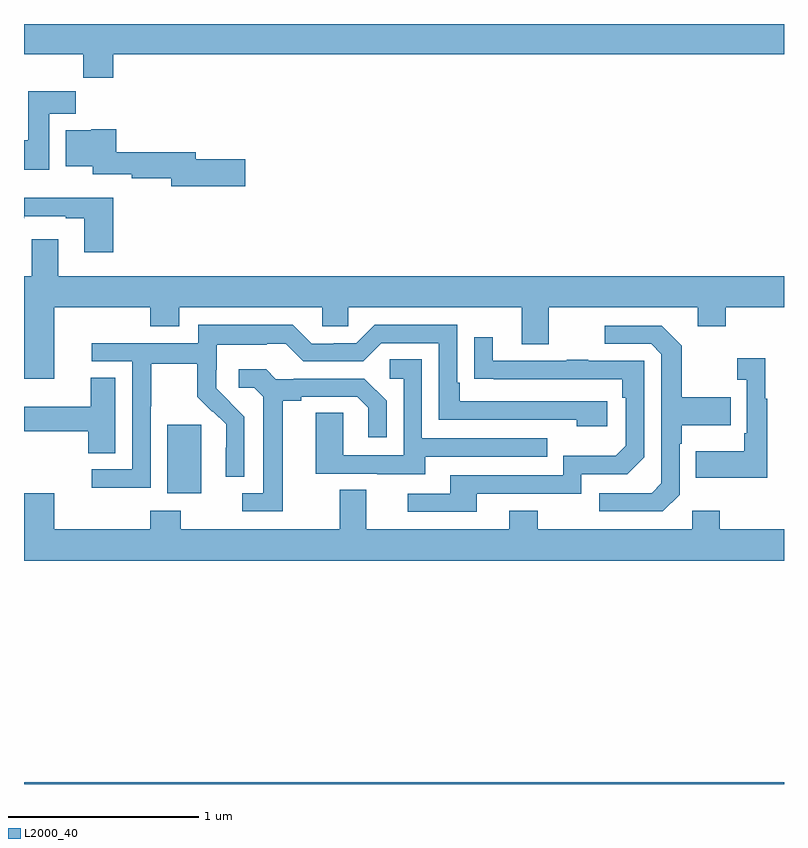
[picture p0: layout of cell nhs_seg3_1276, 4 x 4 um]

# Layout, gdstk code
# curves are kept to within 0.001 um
import gdstk
lib = gdstk.Library(unit=1e-6, precision=1e-09)
def R(c, l, rs):  # rectangles x0, y0, x1, y1
    for r in rs: c.add(gdstk.rectangle(r[:2], r[2:], *l))
def P(c, l, *ps):  # polygons
    for p in ps: c.add(gdstk.Polygon(p, *l))
L2000_40 = (2000, 40)

nhs_seg3_1276 = lib.new_cell('nhs_seg3_1276')
R(nhs_seg3_1276, L2000_40, [(177,706.4,181,706.408), (177.755,707.93,177.934,708.291)])
P(nhs_seg3_1276, L2000_40, [(177.47,710.24),(181,710.24),(181,710.4),(177,710.4),(177,710.24),(177.313,710.24),(177.313,710.116),(177.47,710.116)],
  [(177.133,709.928),(177.272,709.928),(177.272,710.046),(177.023,710.046),(177.023,709.788),(177,709.788),(177,709.632),(177.133,709.632)],
  [(178.165,709.688),(177.904,709.688),(177.904,709.724),(177.485,709.724),(177.485,709.846),(177.354,709.846),(177.354,709.84),(177.221,709.84),(177.221,709.652),(177.362,709.652),(177.362,709.608),(177.568,709.608),(177.568,709.588),(177.776,709.588),(177.776,709.546),(178.165,709.546)],
  [(177.47,709.486),(177,709.486),(177,709.377),(177.001,709.377),(177.001,709.389),(177.221,709.389),(177.221,709.377),(177.317,709.377),(177.317,709.2),(177.47,709.2)],
  [(177.16,708.908),(177.665,708.908),(177.665,708.809),(177.817,708.809),(177.817,708.908),(178.569,708.908),(178.569,708.81),(178.707,708.81),(178.707,708.908),(179.621,708.908),(179.621,708.714),(179.761,708.714),(179.761,708.908),(180.545,708.908),(180.545,708.809),(180.693,708.809),(180.693,708.908),(181,708.908),(181,709.072),(177.181,709.072),(177.181,709.267),(177.041,709.267),(177.041,709.072),(177,709.072),(177,708.534),(177.16,708.534)],
  [(177.666,708.388),(177.669,708.388),(177.669,708.612),(177.913,708.612),(177.913,708.437),(177.99,708.36),(177.993,708.363),(178.064,708.293),(178.064,708.17),(178.062,708.17),(178.062,708.016),(178.158,708.016),(178.158,708.334),(178.012,708.482),(178.012,708.579),(178.014,708.579),(178.014,708.713),(178.277,708.713),(178.277,708.717),(178.377,708.717),(178.47,708.624),(178.785,708.624),(178.881,708.72),(179.184,708.72),(179.184,708.318),(179.909,708.318),(179.909,708.284),(180.07,708.284),(180.07,708.414),(179.293,708.414),(179.293,708.511),(179.28,708.511),(179.28,708.816),(178.845,708.816),(178.749,708.72),(178.631,708.72),(178.631,708.717),(178.515,708.717),(178.415,708.817),(177.918,708.817),(177.918,708.72),(177.357,708.72),(177.357,708.624),(177.57,708.624),(177.57,708.057),(177.357,708.057),(177.357,707.959),(177.666,707.959)],
  [(180.45,707.922),(180.45,708.191),(180.463,708.191),(180.463,708.287),(180.719,708.287),(180.719,708.435),(180.463,708.435),(180.463,708.707),(180.357,708.813),(180.057,708.813),(180.057,708.717),(180.3,708.717),(180.354,708.663),(180.354,707.982),(180.303,707.931),(180.027,707.931),(180.027,707.835),(180.363,707.835)],
  [(179.383,707.928),(179.934,707.928),(179.934,708.03),(180.174,708.03),(180.264,708.12),(180.264,708.627),(179.969,708.627),(179.969,708.632),(179.857,708.632),(179.857,708.627),(179.467,708.627),(179.467,708.751),(179.371,708.751),(179.371,708.532),(180.148,708.531),(180.148,708.434),(180.168,708.434),(180.168,708.18),(180.115,708.127),(179.838,708.127),(179.838,708.024),(179.243,708.024),(179.243,707.928),(179.019,707.928),(179.019,707.832),(179.383,707.832)],
  [(180.913,708.427),(180.901,708.427),(180.901,708.64),(180.753,708.64),(180.753,708.527),(180.804,708.527),(180.804,708.247),(180.792,708.247),(180.792,708.151),(180.535,708.151),(180.535,708.011),(180.913,708.011)],
  [(179.113,708.123),(179.753,708.123),(179.753,708.219),(179.094,708.219),(179.094,708.635),(178.926,708.635),(178.926,708.534),(178.998,708.534),(178.998,708.129),(178.68,708.129),(178.68,708.353),(178.535,708.353),(178.535,708.033),(178.859,708.033),(178.859,708.029),(179.113,708.029)],
  [(178.363,708.416),(178.459,708.416),(178.459,708.438),(178.754,708.438),(178.811,708.381),(178.811,708.225),(178.908,708.225),(178.908,708.418),(178.792,708.534),(178.42,708.534),(178.42,708.531),(178.326,708.531),(178.274,708.583),(178.131,708.583),(178.131,708.486),(178.212,708.486),(178.259,708.439),(178.259,707.931),(178.149,707.931),(178.149,707.835),(178.363,707.835)],
  [(177.481,708.539),(177.35,708.539),(177.35,708.385),(177,708.385),(177,708.256),(177.338,708.256),(177.338,708.142),(177.481,708.142)],
  [(181,707.74),(180.663,707.74),(180.663,707.839),(180.516,707.839),(180.516,707.74),(179.703,707.74),(179.703,707.839),(179.555,707.839),(179.555,707.74),(178.801,707.74),(178.801,707.948),(178.661,707.948),(178.661,707.74),(177.825,707.74),(177.825,707.839),(177.665,707.839),(177.665,707.74),(177.16,707.74),(177.16,707.929),(177,707.929),(177,707.576),(181,707.576)])

lib.write_gds('nhs_seg3_1276.gds')
